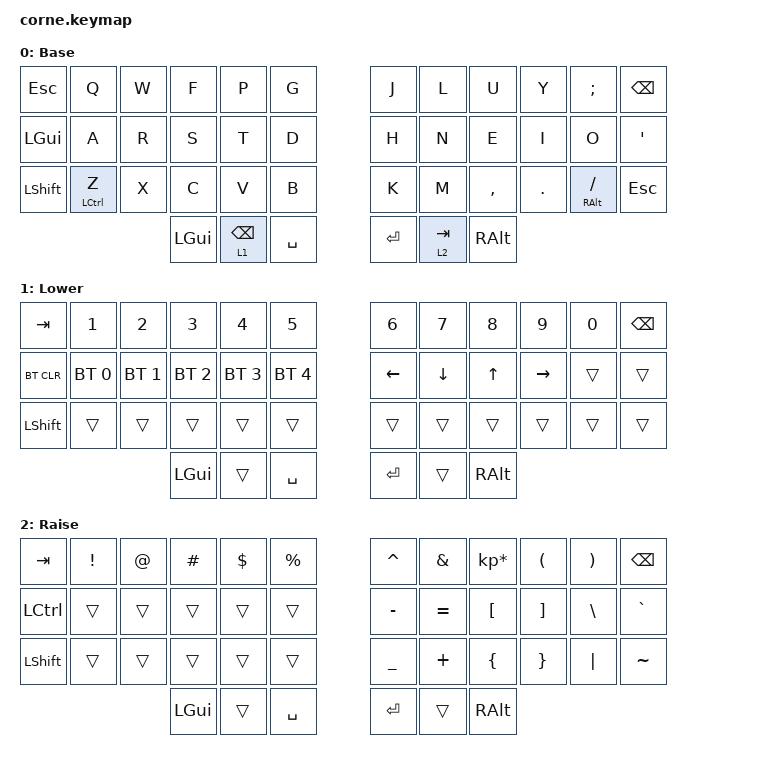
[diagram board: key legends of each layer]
/*
 * Copyright (c) 2020 The ZMK Contributors
 *
 * SPDX-License-Identifier: MIT
 */

#include <behaviors.dtsi>
#include <dt-bindings/zmk/keys.h>
#include <dt-bindings/zmk/bt.h>

&soft_off {
    split-peripheral-off-on-press;
    hold-time-ms = <5000>; // Only turn off it the key is held for 5 seconds or longer.
};

/ {
        combos {
        compatible = "zmk,combos";
        combo_softoff_l {
            timeout-ms = <50>;
            key-positions = <0 24>;
            bindings = <&soft_off>;
        };

        combo_softoff_r {
            timeout-ms = <50>;
            key-positions = <11 35>;
            bindings = <&soft_off>;
        };

    };

        keymap {
                compatible = "zmk,keymap";

                default_layer {
// -----------------------------------------------------------------------------------------
// |  TAB |  Q  |  W  |  F  |  P  |  G  |   |  J  |  L   |  U  |  Y  |  ;  | BKSP |
// | CTRL |  A  |  R  |  S  |  T  |  D  |   |  H  |  N   |  E  |  I  |  O  |  '   |
// | SHFT |  Z  |  X  |  C  |  V  |  B  |   |  K  |  M   |  ,  |  .  |  /  | ESC  |
//                    | GUI | LWR | SPC |   | ENT | RSE  | ALT |
                        display-name = "Base";
                        bindings = <
   &kp ESC   &kp Q &kp W &kp F &kp P &kp G   &kp J &kp L  &kp U     &kp Y   &kp SEMI    &kp BSPC
   &kp LGUI &kp A &kp R &kp S &kp T &kp D   &kp H &kp N  &kp E     &kp I   &kp O &kp SQT
   &kp LSHFT &mt LCTRL Z &kp X &kp C &kp V &kp B   &kp K &kp M  &kp COMMA &kp DOT &mt RALT FSLH &kp ESC
                  &kp LGUI &lt 1 BKSP &kp SPACE   &kp RET &lt 2 TAB &kp RALT
                        >;
                };
                lower_layer {
// -----------------------------------------------------------------------------------------
// |  TAB |  1  |  2  |  3  |  4  |  5  |   |  6  |  7  |  8  |  9  |  0  | BKSP |
// | BTCLR| BT1 | BT2 | BT3 | BT4 | BT5 |   | LFT | DWN |  UP | RGT |     |      |
// | SHFT |     |     |     |     |     |   |     |     |     |     |     |      |
//                    | GUI |     | SPC |   | ENT |     | ALT |
                        display-name = "Lower";
                        bindings = <
   &kp TAB    &kp N1       &kp N2       &kp N3       &kp N4       &kp N5         &kp N6   &kp N7   &kp N8 &kp N9    &kp N0 &kp BSPC
   &bt BT_CLR &bt BT_SEL 0 &bt BT_SEL 1 &bt BT_SEL 2 &bt BT_SEL 3 &bt BT_SEL 4   &kp LEFT &kp DOWN &kp UP &kp RIGHT &trans &trans
   &kp LSHFT  &trans       &trans       &trans       &trans       &trans         &trans   &trans   &trans &trans    &trans &trans
                          	        &kp LGUI     &trans       &kp SPACE      &kp RET  &trans   &kp RALT
                        >;
                };

                raise_layer {
// -----------------------------------------------------------------------------------------
// |  TAB |  !  |  @  |  #  |  $  |  %  |   |  ^  |  &  |  *  |  (  |  )  | BKSP |
// | CTRL |     |     |     |     |     |   |  -  |  =  |  [  |  ]  |  \  |  `   |
// | SHFT |     |     |     |     |     |   |  _  |  +  |  {  |  }  | "|" |  ~   |
//                    | GUI |     | SPC |   | ENT |     | ALT |
                        display-name = "Raise";
                        bindings = <
   &kp  TAB  &kp EXCL &kp AT &kp HASH &kp DLLR &kp PRCNT   &kp CARET &kp AMPS  &kp KP_MULTIPLY &kp LPAR &kp RPAR &kp BSPC
   &kp LCTRL &trans   &trans &trans   &trans   &trans      &kp MINUS &kp EQUAL &kp LBKT        &kp RBKT &kp BSLH &kp GRAVE
   &kp LSHFT &trans   &trans &trans   &trans   &trans      &kp UNDER &kp PLUS  &kp LBRC        &kp RBRC &kp PIPE &kp TILDE
                    	     &kp LGUI &trans   &kp SPACE   &kp RET   &trans    &kp RALT
                        >;
                };
        };
};
